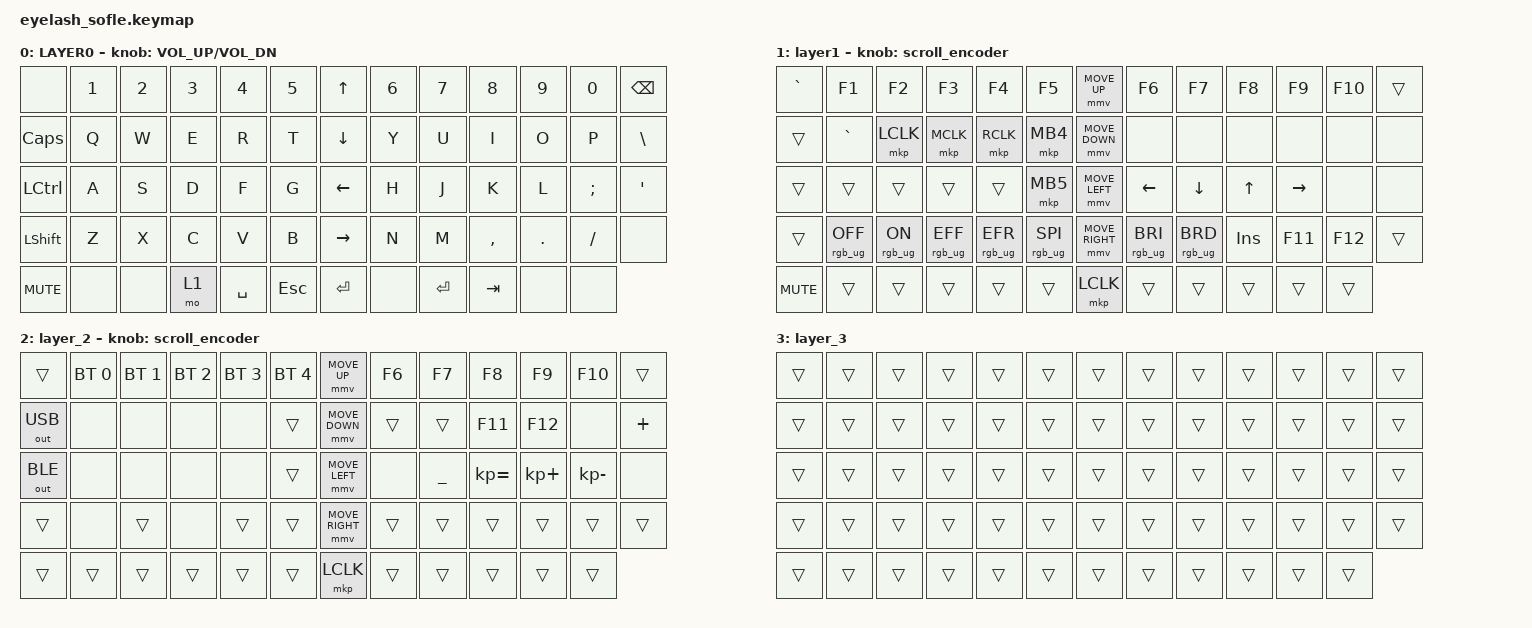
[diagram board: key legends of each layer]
#define ZMK_POINTING_DEFAULT_MOVE_VAL 1200  // 600
#define ZMK_POINTING_DEFAULT_SCRL_VAL 25   // 10

#include <input/processors.dtsi>
#include <zephyr/dt-bindings/input/input-event-codes.h>
#include <behaviors.dtsi>
#include <dt-bindings/zmk/bt.h>
#include <dt-bindings/zmk/keys.h>
#include <dt-bindings/zmk/outputs.h>
#include <dt-bindings/zmk/pointing.h>
#include <dt-bindings/zmk/rgb.h>

&mmv_input_listener { input-processors = <&zip_xy_scaler 2 1>; };

&msc_input_listener { input-processors = <&zip_scroll_scaler 2 1>; };

&msc {
    acceleration-exponent = <1>;      // 0
    time-to-max-speed-ms = <100>;       // 300
    delay-ms = <0>;                   // 0
};

&mmv {
    time-to-max-speed-ms = <500>;
    acceleration-exponent = <1>;
    trigger-period-ms = <16>;
};

/ {
    scroll_encoder: scroll_encoder {
        compatible = "zmk,behavior-sensor-rotate";
        #sensor-binding-cells = <0>;
        bindings = <&msc SCRL_DOWN>, <&msc SCRL_UP>;

        tap-ms = <100>;
    };

    hml: hml {
        compatible = "zmk,behavior-hold-tap";
        label = "HML";
        bindings = <&kp>, <&kp>;

        #binding-cells = <2>;
        flavor = "balanced";
        tapping-term-ms = <130>;
        hold-trigger-key-positions = <7 8 9 10 11 12 20 21 22 23 24 25 33 38 46 47 48 49 50 51 59 60 61 62 63 0 1 13 14 15 16 17 18 26 31 39 40 42 43 44 53 54 55 56 57 0 1 2 3 4 5 13 14 15 16 17 18 26 31 39 40 42 43 44 52 53 54 55 56 57 42 41>;
        hold-trigger-on-release;
        hold-while-undecided;
        require-prior-idle-ms = <50>;
    };

    hmr: hmr {
        compatible = "zmk,behavior-hold-tap";
        label = "HMR";
        bindings = <&kp>, <&kp>;

        #binding-cells = <2>;
        tapping-term-ms = <130>;
        flavor = "balanced";
        hold-trigger-key-positions = <0 1 2 3 4 5 13 14 15 16 17 18 26 31 39 40 41 42 43 44 52 53 54 55 56 57 50 51 60 61 62 63 7 8 9 10 11 12 20 21 22 23 24 25 33 38 46 47 48 49 50 51 59 60 61 62 63>;
        hold-trigger-on-release;
        hold-while-undecided;
        require-prior-idle-ms = <50>;
    };

    behaviors {
    };

    combos {
        compatible = "zmk,combos";

        l_par {
            bindings = <&kp LEFT_PARENTHESIS>;
            key-positions = <29 30>;
            timeout-ms = <50>;
        };

        l_sb {
            bindings = <&kp LEFT_BRACKET>;
            key-positions = <16 17>;
            timeout-ms = <50>;
        };

        l_brace {
            bindings = <&kp LEFT_BRACE>;
            key-positions = <42 43>;
            timeout-ms = <50>;
        };

        r_par {
            bindings = <&kp RIGHT_PARENTHESIS>;
            key-positions = <34 35>;
            timeout-ms = <50>;
        };

        r_bracket {
            bindings = <&kp RIGHT_BRACKET>;
            key-positions = <21 22>;
            timeout-ms = <50>;
        };

        r_brace {
            bindings = <&kp RIGHT_BRACE>;
            key-positions = <47 48>;
            timeout-ms = <50>;
        };

        underscore {
            bindings = <&kp UNDERSCORE>;
            key-positions = <29 28>;
            timeout-ms = <50>;
        };

        minus {
            bindings = <&kp KP_MINUS>;
            key-positions = <35 36>;
            timeout-ms = <50>;
        };

        plus {
            bindings = <&kp KP_PLUS>;
            key-positions = <22 23>;
            timeout-ms = <50>;
        };

        equal {
            bindings = <&kp KP_EQUAL>;
            key-positions = <15 16>;
            timeout-ms = <50>;
        };

        colon {
            bindings = <&kp COLON>;
            key-positions = <30 34>;
            timeout-ms = <75>;
        };
    };

    keymap {
        compatible = "zmk,keymap";

        layer0 {
            bindings = <
&none           &kp N1  &kp N2  &kp N3  &kp N4     &kp N5     &kp UP_ARROW     &kp N6  &kp N7     &kp N8     &kp N9   &kp N0    &kp BACKSPACE
&kp CAPSLOCK    &kp Q   &kp W   &kp E   &kp R      &kp T      &kp DOWN_ARROW   &kp Y   &kp U      &kp I      &kp O    &kp P     &kp BSLH
&kp LCTRL       &kp A   &kp S   &kp D   &kp F      &kp G      &kp LEFT_ARROW   &kp H   &kp J      &kp K      &kp L    &kp SEMI  &kp APOS
&kp LEFT_SHIFT  &kp Z   &kp X   &kp C   &kp V      &kp B      &kp RIGHT_ARROW  &kp N   &kp M      &kp COMMA  &kp DOT  &kp FSLH  &none
&kp C_MUTE      &none   &none   &mo 1   &kp SPACE  &kp ESC    &kp ENTER        &none   &kp ENTER  &kp TAB    &none    &none
            >;

            sensor-bindings = <&inc_dec_kp C_VOLUME_UP C_VOL_DN>;
            display-name = "LAYER0";
        };

        layer_1 {
            bindings = <
&kp GRAVE   &kp F1           &kp F2          &kp F3           &kp F4           &kp F5             &mmv MOVE_UP     &kp F6           &kp F7           &kp F8        &kp F9           &kp F10  &trans
&trans      &kp GRAVE        &mkp LCLK       &mkp MCLK        &mkp RCLK        &mkp MB4           &mmv MOVE_DOWN   &none            &none            &none         &none            &none    &none
&trans      &trans           &trans          &trans           &trans           &mkp MB5           &mmv MOVE_LEFT   &kp LEFT_ARROW   &kp DOWN_ARROW   &kp UP_ARROW  &kp RIGHT_ARROW  &none    &none
&trans      &rgb_ug RGB_OFF  &rgb_ug RGB_ON  &rgb_ug RGB_EFF  &rgb_ug RGB_EFR  &rgb_ug RGB_SPI    &mmv MOVE_RIGHT  &rgb_ug RGB_BRI  &rgb_ug RGB_BRD  &kp INSERT    &kp F11          &kp F12  &trans
&kp C_MUTE  &trans           &trans          &trans           &trans           &trans             &mkp LCLK        &trans           &trans           &trans        &trans           &trans
            >;

            display-name = "layer1";
            sensor-bindings = <&scroll_encoder>;
        };

        layer_2 {
            bindings = <
&trans        &bt BT_SEL 0  &bt BT_SEL 1  &bt BT_SEL 2  &bt BT_SEL 3  &bt BT_SEL 4    &mmv MOVE_UP     &kp F6  &kp F7          &kp F8        &kp F9       &kp F10       &trans
&out OUT_USB  &none         &none         &none         &none         &trans          &mmv MOVE_DOWN   &trans  &trans          &kp F11       &kp F12      &none         &kp PLUS
&out OUT_BLE  &none         &none         &none         &none         &trans          &mmv MOVE_LEFT   &none   &kp UNDERSCORE  &kp KP_EQUAL  &kp KP_PLUS  &kp KP_MINUS  &none
&trans        &none         &trans        &none         &trans        &trans          &mmv MOVE_RIGHT  &trans  &trans          &trans        &trans       &trans        &trans
&trans        &trans        &trans        &trans        &trans        &trans          &mkp LCLK        &trans  &trans          &trans        &trans       &trans
            >;

            sensor-bindings = <&scroll_encoder>;
        };

        layer_3 {
            bindings = <
&trans  &trans  &trans  &trans  &trans  &trans    &trans  &trans  &trans  &trans  &trans  &trans  &trans
&trans  &trans  &trans  &trans  &trans  &trans    &trans  &trans  &trans  &trans  &trans  &trans  &trans
&trans  &trans  &trans  &trans  &trans  &trans    &trans  &trans  &trans  &trans  &trans  &trans  &trans
&trans  &trans  &trans  &trans  &trans  &trans    &trans  &trans  &trans  &trans  &trans  &trans  &trans
&trans  &trans  &trans  &trans  &trans  &trans    &trans  &trans  &trans  &trans  &trans  &trans
            >;
        };
    };
};
